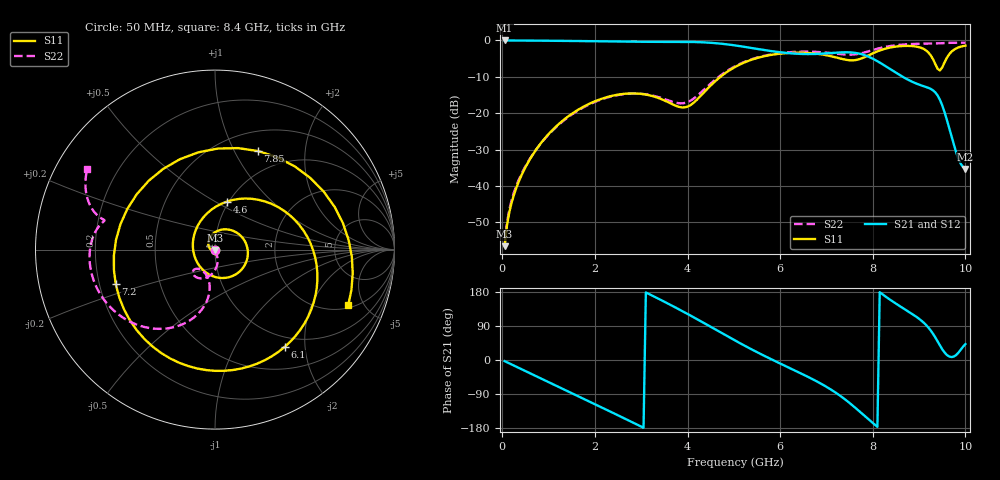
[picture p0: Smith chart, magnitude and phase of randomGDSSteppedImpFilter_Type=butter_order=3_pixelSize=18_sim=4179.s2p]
! freq	dB(S11)	phase(S11)	dB(S12)	phase(S12)
!  dB(S21)	phase(S21)	dB(S22)	phase(S22)
!S-par simulation data
#  GHz  S  DB  R 50
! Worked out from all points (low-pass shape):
!   200 points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, 50 MHz to 10 GHz, reference 50 ohm
!   highest |S21| = -0.01 dB at 50 MHz (marker M1); lowest = -35.3 dB at 10 GHz (marker M2)
!   |S21| within 3 dB of the highest: start of sweep to 5.851 GHz
!   lowest |S11| = -56.5 dB at 50 MHz (marker M3), VSWR 1.00, Z = 50 - j0.146 ohm
!   |S11| at or under -10 dB: start of sweep to 4.71 GHz
!   |S22| runs from -56.3 to -0.6 dB; largest |S21 - S12| = 0
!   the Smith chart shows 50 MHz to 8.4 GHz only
!   S11 on the Smith chart (normalised r, x): 50 MHz: 1.00, -0.00; 4.6 GHz: 0.98, +0.57; 6.1 GHz: 0.83, -1.62; 7.2 GHz: 0.27, -0.16; 7.85 GHz: 0.73, +1.25; 8.4 GHz: 2.19, -3.82
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0.05  -56.54 -78.6  -0.01 -3.0  -0.01 -3.0  -56.28 -67.5
0.2  -44.65 -119.2  -0.02 -11.7  -0.02 -11.7  -43.96 -76.5
0.5  -34.86 -166.7  -0.04 -29.1  -0.04 -29.1  -34.59 -71.9
1.75  -18.23 66.8  -0.18 -102.0  -0.18 -102.0  -18.42 -91.6
2.65  -14.65 -8.9  -0.34 -154.9  -0.34 -154.9  -14.73 -120.3
3.4  -15.95 -80.9  -0.37 160.0  -0.37 160.0  -15.68 -136.1
4  -18.19 176.1  -0.39 121.6  -0.39 121.6  -16.95 -113.5
4.6  -11.19 76.1  -0.74 80.7  -0.74 80.7  -10.77 -99.0
5.05  -7.13 29.7  -1.41 49.8  -1.41 49.8  -6.94 -113.0
6.1  -3.52 -54.5  -3.39 -15.1  -3.39 -15.1  -3.34 -156.6
6.7  -3.53 -102.9  -3.74 -50.6  -3.74 -50.6  -3.11 -178.2
7.2  -4.65 -160.7  -3.38 -86.2  -3.38 -86.2  -3.63 168.5
7.5  -5.45 144.7  -3.27 -113.5  -3.27 -113.5  -3.92 165.2
7.85  -4.45 66.5  -4.16 -150.4  -4.16 -150.4  -3.21 163.4
8.35  -2.02 -16.3  -7.68 161.0  -7.68 161.0  -1.59 149.4
8.4  -1.89 -22.5  -8.08 156.9  -8.08 156.9  -1.49 147.6
8.95  -1.72 -86.0  -11.90 113.3  -11.90 113.3  -0.93 127.8
9.15  -2.74 -119.2  -12.80 92.5  -12.80 92.5  -0.88 121.1
9.3  -5.14 -163.6  -13.71 69.3  -13.71 69.3  -0.86 116.4
9.5  -7.40 66.9  -17.86 28.3  -17.86 28.3  -0.75 110.2
9.7  -3.09 -11.0  -26.38 7.8  -26.38 7.8  -0.65 103.4
10  -1.43 -53.1  -35.32 42.0  -35.32 42.0  -0.63 93.2
